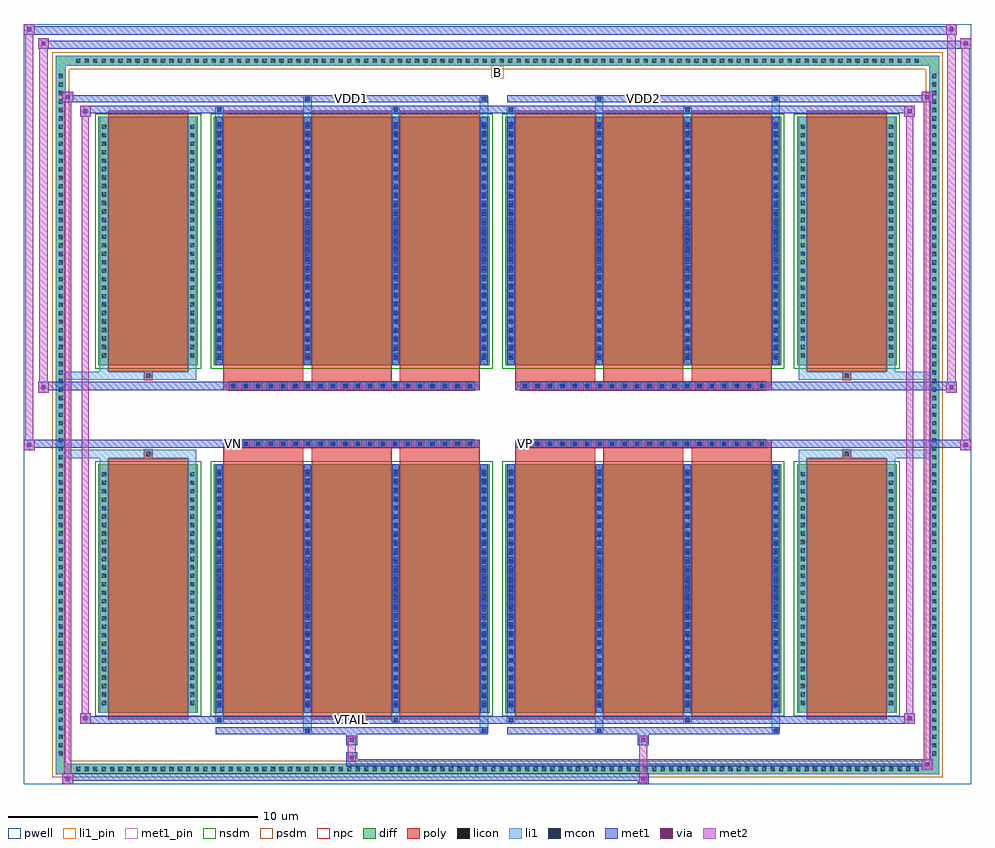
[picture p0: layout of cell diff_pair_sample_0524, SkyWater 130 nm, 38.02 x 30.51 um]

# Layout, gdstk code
import gdstk
lib = gdstk.Library(unit=1e-6, precision=5e-09)
def R(c, l, rs):  # rectangles x0, y0, x1, y1
    for r in rs: c.add(gdstk.rectangle(r[:2], r[2:], *l))
def A(c, l, x, y, w, h, nx, ny, dx, dy):  # array of equal rectangles
    R(c, l, [(x+i*dx, y+j*dy, x+i*dx+w, y+j*dy+h) for i in range(nx) for j in range(ny)])
def P(c, l, *ps):  # polygons
    for p in ps: c.add(gdstk.Polygon(p, *l))
pwell = (64, 44)
diff = (65, 20)
poly = (66, 20)
licon = (66, 44)
li1_pin = (67, 16)
li1 = (67, 20)
mcon = (67, 44)
met1_pin = (68, 16)
met1 = (68, 20)
via = (68, 44)
met2 = (69, 20)
nsdm = (93, 44)
psdm = (94, 20)
npc = (95, 20)

diff_pair_sample_0524 = lib.new_cell('diff_pair_sample_0524')
R(diff_pair_sample_0524, pwell, [(-19.01,-14.82,19.01,15.69), (-16.33,-13.01,-0.01,-0.795), (0.01,-13.01,16.33,-0.795), (-16.33,0.795,-0.01,13.01), (0.01,0.795,16.33,13.01)])
A(diff_pair_sample_0524, diff, -17.035, -14.42, 0.41, 0.41, 100, 2, 0.34, 28.43)
A(diff_pair_sample_0524, diff, -17.74, -13.805, 0.41, 0.41, 1, 81, 0, 0.34)
A(diff_pair_sample_0524, diff, 17.33, -13.805, 0.41, 0.41, 1, 81, 0, 0.34)
R(diff_pair_sample_0524, diff, [(-17.035,-14.42,17.035,-14.01), (-17.74,-13.805,-17.33,13.805), (17.33,-13.805,17.74,13.805), (-16.02,-11.965,-12.03,-1.985), (-11.39,-11.965,-0.32,-1.985), (0.32,-11.965,11.39,-1.985), (12.03,-11.965,16.02,-1.985), (-16.02,1.985,-12.03,11.965), (-11.39,1.985,-0.32,11.965), (0.32,1.985,11.39,11.965), (12.03,1.985,16.02,11.965), (-17.035,14.01,17.035,14.42)])
P(diff_pair_sample_0524, diff, [(17.74,14.42),(-17.74,14.42),(-17.74,-14.01),(-17.33,-14.01),(-17.33,14.01),(17.33,14.01),(17.33,-14.01),(-17.33,-14.01),(-17.74,-14.01),(-17.74,-14.42),(17.74,-14.42)])
A(diff_pair_sample_0524, poly, -11, -12.215, 3.21, 10.48, 3, 2, 3.54, 13.95)
A(diff_pair_sample_0524, poly, 0.71, -12.215, 3.21, 10.48, 3, 2, 3.54, 13.95)
A(diff_pair_sample_0524, poly, -11, -1.735, 3.21, 0.41, 3, 2, 3.54, 3.06)
A(diff_pair_sample_0524, poly, 0.71, -1.735, 3.21, 0.41, 3, 2, 3.54, 3.06)
A(diff_pair_sample_0524, poly, -10.77, -1.325, 0.33, 0.33, 20, 2, 0.5, 2.32)
A(diff_pair_sample_0524, poly, 0.94, -1.325, 0.33, 0.33, 20, 2, 0.5, 2.32)
R(diff_pair_sample_0524, poly, [(-15.63,-12.215,-12.42,-1.735), (12.42,-12.215,15.63,-1.735), (-14.19,-1.735,-13.86,-1.405), (-14.19,-1.735,-13.86,-1.405), (13.86,-1.735,14.19,-1.405), (13.86,-1.735,14.19,-1.405), (-11,-1.325,-0.71,-0.995), (0.71,-1.325,11,-0.995), (-11,0.995,-0.71,1.325), (0.71,0.995,11,1.325), (-14.19,1.405,-13.86,1.735), (-14.19,1.405,-13.86,1.735), (13.86,1.405,14.19,1.735), (13.86,1.405,14.19,1.735), (-15.63,1.735,-12.42,12.215), (12.42,1.735,15.63,12.215)])
A(diff_pair_sample_0524, licon, -16.915, -14.3, 0.17, 0.17, 100, 2, 0.34, 28.43)
A(diff_pair_sample_0524, licon, -17.62, -13.685, 0.17, 0.17, 1, 81, 0, 0.34)
A(diff_pair_sample_0524, licon, 17.45, -13.685, 0.17, 0.17, 1, 81, 0, 0.34)
A(diff_pair_sample_0524, licon, -15.88, -11.65, 0.17, 0.17, 1, 28, 0, 0.34)
A(diff_pair_sample_0524, licon, -12.34, -11.65, 0.17, 0.17, 1, 28, 0, 0.34)
A(diff_pair_sample_0524, licon, -11.25, -11.65, 0.17, 0.17, 4, 28, 3.54, 0.34)
A(diff_pair_sample_0524, licon, 0.46, -11.65, 0.17, 0.17, 4, 28, 3.54, 0.34)
A(diff_pair_sample_0524, licon, 12.17, -11.65, 0.17, 0.17, 1, 28, 0, 0.34)
A(diff_pair_sample_0524, licon, 15.71, -11.65, 0.17, 0.17, 1, 28, 0, 0.34)
A(diff_pair_sample_0524, licon, -10.69, -1.245, 0.17, 0.17, 20, 2, 0.5, 2.32)
A(diff_pair_sample_0524, licon, 1.02, -1.245, 0.17, 0.17, 20, 2, 0.5, 2.32)
A(diff_pair_sample_0524, licon, -15.88, 2.3, 0.17, 0.17, 1, 28, 0, 0.34)
A(diff_pair_sample_0524, licon, -12.34, 2.3, 0.17, 0.17, 1, 28, 0, 0.34)
A(diff_pair_sample_0524, licon, -11.25, 2.3, 0.17, 0.17, 4, 28, 3.54, 0.34)
A(diff_pair_sample_0524, licon, 0.46, 2.3, 0.17, 0.17, 4, 28, 3.54, 0.34)
A(diff_pair_sample_0524, licon, 12.17, 2.3, 0.17, 0.17, 1, 28, 0, 0.34)
A(diff_pair_sample_0524, licon, 15.71, 2.3, 0.17, 0.17, 1, 28, 0, 0.34)
R(diff_pair_sample_0524, licon, [(-14.11,-1.655,-13.94,-1.485), (13.94,-1.655,14.11,-1.485), (-14.11,1.485,-13.94,1.655), (13.94,1.485,14.11,1.655)])
R(diff_pair_sample_0524, li1_pin, [(-0.25,13.51,0.25,14.01)])
A(diff_pair_sample_0524, li1, -16.995, -14.38, 0.33, 0.33, 100, 2, 0.34, 28.43)
A(diff_pair_sample_0524, li1, -17.7, -13.765, 0.33, 0.33, 1, 81, 0, 0.34)
A(diff_pair_sample_0524, li1, 17.37, -13.765, 0.33, 0.33, 1, 81, 0, 0.34)
A(diff_pair_sample_0524, li1, -11.33, -11.965, 0.33, 9.98, 4, 2, 3.54, 13.95)
A(diff_pair_sample_0524, li1, 0.38, -11.965, 0.33, 9.98, 4, 2, 3.54, 13.95)
A(diff_pair_sample_0524, li1, -11.25, -11.74, 0.17, 0.17, 4, 27, 3.54, 0.36)
A(diff_pair_sample_0524, li1, -11.25, -11.74, 0.17, 9.53, 4, 2, 3.54, 13.95)
A(diff_pair_sample_0524, li1, 0.46, -11.74, 0.17, 0.17, 4, 27, 3.54, 0.36)
A(diff_pair_sample_0524, li1, 0.46, -11.74, 0.17, 9.53, 4, 2, 3.54, 13.95)
A(diff_pair_sample_0524, li1, -15.96, -11.73, 0.33, 0.33, 1, 28, 0, 0.34)
A(diff_pair_sample_0524, li1, -12.42, -11.73, 0.33, 0.33, 1, 28, 0, 0.34)
A(diff_pair_sample_0524, li1, -11.33, -11.73, 0.33, 0.33, 4, 28, 3.54, 0.34)
A(diff_pair_sample_0524, li1, 0.38, -11.73, 0.33, 0.33, 4, 28, 3.54, 0.34)
A(diff_pair_sample_0524, li1, 12.09, -11.73, 0.33, 0.33, 1, 28, 0, 0.34)
A(diff_pair_sample_0524, li1, 15.63, -11.73, 0.33, 0.33, 1, 28, 0, 0.34)
A(diff_pair_sample_0524, li1, -10.77, -1.325, 0.33, 0.33, 20, 2, 0.5, 2.32)
A(diff_pair_sample_0524, li1, 0.94, -1.325, 0.33, 0.33, 20, 2, 0.5, 2.32)
A(diff_pair_sample_0524, li1, -11.25, 2.21, 0.17, 0.17, 4, 27, 3.54, 0.36)
A(diff_pair_sample_0524, li1, 0.46, 2.21, 0.17, 0.17, 4, 27, 3.54, 0.36)
A(diff_pair_sample_0524, li1, -15.96, 2.22, 0.33, 0.33, 1, 28, 0, 0.34)
A(diff_pair_sample_0524, li1, -12.42, 2.22, 0.33, 0.33, 1, 28, 0, 0.34)
A(diff_pair_sample_0524, li1, -11.33, 2.22, 0.33, 0.33, 4, 28, 3.54, 0.34)
A(diff_pair_sample_0524, li1, 0.38, 2.22, 0.33, 0.33, 4, 28, 3.54, 0.34)
A(diff_pair_sample_0524, li1, 12.09, 2.22, 0.33, 0.33, 1, 28, 0, 0.34)
A(diff_pair_sample_0524, li1, 15.63, 2.22, 0.33, 0.33, 1, 28, 0, 0.34)
R(diff_pair_sample_0524, li1, [(-17.74,-14.42,-17.33,-14.01), (-17.74,-14.42,-17.33,-14.01), (-17.33,-14.42,17.33,-14.01), (17.33,-14.42,17.74,-14.01), (17.33,-14.42,17.74,-14.01), (-17.74,-14.01,-17.33,14.01), (17.33,-14.01,17.74,14.01), (-7.79,-12.77,-7.46,-11.965), (-7.71,-12.77,-7.54,-12.6), (-0.71,-12.77,-0.38,-11.965), (-0.63,-12.77,-0.46,-12.6), (3.92,-12.77,4.25,-11.965), (4,-12.77,4.17,-12.6), (11,-12.77,11.33,-11.965), (11.08,-12.77,11.25,-12.6), (-11.33,-12.34,-11,-11.965), (-11.25,-12.34,-11.08,-12.17), (-4.25,-12.34,-3.92,-11.965), (-4.17,-12.34,-4,-12.17), (0.38,-12.34,0.71,-11.965), (0.46,-12.34,0.63,-12.17), (7.46,-12.34,7.79,-11.965), (7.54,-12.34,7.71,-12.17), (-15.96,-11.965,-15.63,-1.985), (-12.42,-11.965,-12.09,-1.985), (12.09,-11.965,12.42,-1.985), (15.63,-11.965,15.96,-1.985), (-15.96,-1.985,-15.63,-1.405), (-12.42,-1.985,-12.09,-1.405), (12.09,-1.985,12.42,-1.405), (15.63,-1.985,15.96,-1.405), (-17.74,-1.735,-14.19,-1.405), (-15.96,-1.735,-14.19,-1.405), (-14.19,-1.735,-13.86,-1.405), (-13.86,-1.735,-12.09,-1.405), (12.09,-1.735,13.86,-1.405), (13.86,-1.735,14.19,-1.405), (13.86,-1.735,17.74,-1.405), (14.19,-1.735,15.96,-1.405), (-17.74,1.405,-14.19,1.735), (-15.96,1.405,-14.19,1.735), (-15.96,1.405,-15.63,1.985), (-14.19,1.405,-13.86,1.735), (-13.86,1.405,-12.09,1.735), (-12.42,1.405,-12.09,1.985), (12.09,1.405,13.86,1.735), (12.09,1.405,12.42,1.985), (13.86,1.405,14.19,1.735), (13.86,1.405,17.74,1.735), (14.19,1.405,15.96,1.735), (15.63,1.405,15.96,1.985), (-15.96,1.985,-15.63,11.965), (-12.42,1.985,-12.09,11.965), (12.09,1.985,12.42,11.965), (15.63,1.985,15.96,11.965), (-11.33,11.965,-11,12.34), (-7.79,11.965,-7.46,12.77), (-4.25,11.965,-3.92,12.34), (-0.71,11.965,-0.38,12.77), (0.38,11.965,0.71,12.34), (3.92,11.965,4.25,12.77), (7.46,11.965,7.79,12.34), (11,11.965,11.33,12.77), (-11.25,12.17,-11.08,12.34), (-4.17,12.17,-4,12.34), (0.46,12.17,0.63,12.34), (7.54,12.17,7.71,12.34), (-7.71,12.6,-7.54,12.77), (-0.63,12.6,-0.46,12.77), (4,12.6,4.17,12.77), (11.08,12.6,11.25,12.77), (-17.74,14.01,-17.33,14.42), (-17.74,14.01,-17.33,14.42), (-17.33,14.01,17.33,14.42), (17.33,14.01,17.74,14.42), (17.33,14.01,17.74,14.42)])
A(diff_pair_sample_0524, mcon, -11.25, -11.74, 0.17, 0.17, 4, 27, 3.54, 0.36)
A(diff_pair_sample_0524, mcon, 0.46, -11.74, 0.17, 0.17, 4, 27, 3.54, 0.36)
A(diff_pair_sample_0524, mcon, -10.69, -1.245, 0.17, 0.17, 20, 2, 0.5, 2.32)
A(diff_pair_sample_0524, mcon, 1.02, -1.245, 0.17, 0.17, 20, 2, 0.5, 2.32)
A(diff_pair_sample_0524, mcon, -11.25, 2.21, 0.17, 0.17, 4, 27, 3.54, 0.36)
A(diff_pair_sample_0524, mcon, 0.46, 2.21, 0.17, 0.17, 4, 27, 3.54, 0.36)
R(diff_pair_sample_0524, mcon, [(-7.71,-12.77,-7.54,-12.6), (-0.63,-12.77,-0.46,-12.6), (4,-12.77,4.17,-12.6), (11.08,-12.77,11.25,-12.6), (-11.25,-12.34,-11.08,-12.17), (-4.17,-12.34,-4,-12.17), (0.46,-12.34,0.63,-12.17), (7.54,-12.34,7.71,-12.17), (-11.25,12.17,-11.08,12.34), (-4.17,12.17,-4,12.34), (0.46,12.17,0.63,12.34), (7.54,12.17,7.71,12.34), (-7.71,12.6,-7.54,12.77), (-0.63,12.6,-0.46,12.77), (4,12.6,4.17,12.77), (11.08,12.6,11.25,12.77)])
R(diff_pair_sample_0524, met1_pin, [(-5.99,-12.38,-5.72,-12.11), (-10.74,-1.285,-10.47,-1.015), (0.97,-1.285,1.24,-1.015), (-5.99,12.56,-5.72,12.83), (5.72,12.56,5.99,12.83)])
A(diff_pair_sample_0524, met1, -11.31, -11.965, 0.29, 9.98, 4, 2, 3.54, 13.95)
A(diff_pair_sample_0524, met1, 0.4, -11.965, 0.29, 9.98, 4, 2, 3.54, 13.95)
A(diff_pair_sample_0524, met1, -11.31, -11.8, 0.29, 0.29, 4, 27, 3.54, 0.36)
A(diff_pair_sample_0524, met1, 0.4, -11.8, 0.29, 0.29, 4, 27, 3.54, 0.36)
A(diff_pair_sample_0524, met1, -10.75, -1.305, 0.29, 0.29, 20, 2, 0.5, 2.32)
A(diff_pair_sample_0524, met1, 0.96, -1.305, 0.29, 0.29, 20, 2, 0.5, 2.32)
A(diff_pair_sample_0524, met1, -11.31, 2.15, 0.29, 0.29, 4, 27, 3.54, 0.36)
A(diff_pair_sample_0524, met1, 0.4, 2.15, 0.29, 0.29, 4, 27, 3.54, 0.36)
R(diff_pair_sample_0524, met1, [(-17.47,-14.82,-17.04,-14.39), (5.64,-14.82,6.07,-14.39), (-17.47,-14.68,6.07,-14.39), (17.04,-14.25,17.47,-13.82), (-6.07,-14.11,17.47,-13.82), (-6.07,-13.97,-5.64,-13.54), (-6.07,-13.26,-5.64,-12.83), (5.64,-13.26,6.07,-12.83), (-11.31,-12.83,-0.4,-12.54), (-7.77,-12.83,-7.48,-12.54), (-0.69,-12.83,-0.4,-12.54), (0.4,-12.83,11.31,-12.54), (3.94,-12.83,4.23,-12.54), (11.02,-12.83,11.31,-12.54), (-16.76,-12.4,-16.33,-11.97), (-16.76,-12.4,-11.31,-12.11), (-11.31,-12.4,-11.02,-12.11), (-11.31,-12.4,-0.4,-12.11), (-4.23,-12.4,-3.94,-12.11), (-0.4,-12.4,0.4,-12.11), (0.4,-12.4,0.69,-12.11), (0.4,-12.4,11.31,-12.11), (7.48,-12.4,7.77,-12.11), (11.31,-12.4,16.76,-12.11), (16.33,-12.4,16.76,-11.97), (-19.01,-1.425,-18.58,-0.995), (18.58,-1.425,19.01,-0.995), (-19.01,-1.325,-0.71,-0.995), (-11,-1.325,-0.71,-0.995), (0.71,-1.325,11,-0.995), (0.71,-1.325,19.01,-0.995), (-18.44,0.895,-18.01,1.325), (18.01,0.895,18.44,1.325), (-18.44,0.995,-11,1.325), (-11,0.995,-0.71,1.325), (0.71,0.995,11,1.325), (11,0.995,18.44,1.325), (-16.76,11.97,-16.33,12.4), (16.33,11.97,16.76,12.4), (-16.76,12.11,-11.31,12.4), (-11.31,12.11,-11.02,12.4), (-11.31,12.11,-0.4,12.4), (-4.23,12.11,-3.94,12.4), (-0.4,12.11,0.4,12.4), (0.4,12.11,0.69,12.4), (0.4,12.11,11.31,12.4), (7.48,12.11,7.77,12.4), (11.31,12.11,16.76,12.4), (-17.47,12.54,-17.04,12.97), (-17.47,12.54,-11.31,12.83), (-11.31,12.54,-0.4,12.83), (-7.77,12.54,-7.48,12.83), (-0.69,12.54,-0.4,12.83), (0.4,12.54,11.31,12.83), (3.94,12.54,4.23,12.83), (11.02,12.54,11.31,12.83), (11.31,12.54,17.47,12.83), (17.04,12.54,17.47,12.97), (-18.44,14.69,-18.01,15.12), (-18.44,14.69,-16.33,15.02), (-16.33,14.69,16.33,15.02), (16.33,14.69,19.01,15.02), (18.58,14.69,19.01,15.12), (-19.01,15.26,-18.58,15.69), (-19.01,15.26,-16.33,15.59), (-16.33,15.26,16.33,15.59), (16.33,15.26,18.44,15.59), (18.01,15.26,18.44,15.69)])
R(diff_pair_sample_0524, via, [(-17.33,-14.68,-17.18,-14.53), (5.78,-14.68,5.93,-14.53), (17.18,-14.11,17.33,-13.96), (-5.93,-13.83,-5.78,-13.68), (-5.93,-13.12,-5.78,-12.97), (5.78,-13.12,5.93,-12.97), (-16.62,-12.26,-16.47,-12.11), (16.47,-12.26,16.62,-12.11), (-18.87,-1.285,-18.72,-1.135), (18.72,-1.285,18.87,-1.135), (-18.3,1.035,-18.15,1.185), (18.15,1.035,18.3,1.185), (-16.62,12.11,-16.47,12.26), (16.47,12.11,16.62,12.26), (-17.33,12.68,-17.18,12.83), (17.18,12.68,17.33,12.83), (-18.3,14.83,-18.15,14.98), (18.72,14.83,18.87,14.98), (-18.87,15.4,-18.72,15.55), (18.15,15.4,18.3,15.55)])
R(diff_pair_sample_0524, met2, [(-17.47,-14.82,-17.04,-14.39), (-17.4,-14.82,-17.11,12.97), (-17.11,-14.82,-17.04,-14.39), (-17.42,-14.77,-17.09,-14.44), (5.69,-14.77,6.02,-14.44), (5.69,-14.44,6.02,-13.21), (17.04,-14.25,17.47,-13.82), (17.11,-14.25,17.4,12.97), (17.4,-14.25,17.47,-13.82), (17.09,-14.2,17.42,-13.87), (-6.02,-13.92,-5.69,-13.59), (-6.02,-13.59,-5.69,-13.21), (-6.02,-13.21,-5.69,-12.88), (5.69,-13.21,6.02,-12.88), (-16.76,-12.4,-16.33,-11.97), (-16.69,-12.4,-16.4,12.4), (-16.4,-12.4,-16.33,-11.97), (16.33,-12.4,16.76,-11.97), (16.4,-12.4,16.69,12.4), (16.69,-12.4,16.76,-11.97), (-16.71,-12.35,-16.38,-12.02), (16.38,-12.35,16.71,-12.02), (-19.01,-1.425,-18.58,-0.995), (-18.96,-1.425,-18.63,15.69), (-18.63,-1.425,-18.58,-0.995), (18.58,-1.425,19.01,-0.995), (18.63,-1.425,18.96,15.12), (18.96,-1.425,19.01,-0.995), (-18.96,-1.375,-18.63,-1.045), (18.63,-1.375,18.96,-1.045), (-18.44,0.895,-18.01,1.325), (-18.39,0.895,-18.06,15.12), (-18.06,0.895,-18.01,1.325), (18.01,0.895,18.44,1.325), (18.06,0.895,18.39,15.69), (18.39,0.895,18.44,1.325), (-18.39,0.945,-18.06,1.275), (18.06,0.945,18.39,1.275), (-16.76,11.97,-16.33,12.4), (-16.4,11.97,-16.33,12.4), (16.33,11.97,16.76,12.4), (16.69,11.97,16.76,12.4), (-16.71,12.02,-16.38,12.35), (16.38,12.02,16.71,12.35), (-17.47,12.54,-17.04,12.97), (-17.11,12.54,-17.04,12.97), (17.04,12.54,17.47,12.97), (17.4,12.54,17.47,12.97), (-17.42,12.59,-17.09,12.92), (17.09,12.59,17.42,12.92), (-18.44,14.69,-18.01,15.12), (-18.06,14.69,-18.01,15.12), (18.58,14.69,19.01,15.12), (18.96,14.69,19.01,15.12), (-18.39,14.74,-18.06,15.07), (18.63,14.74,18.96,15.07), (-19.01,15.26,-18.58,15.69), (-18.63,15.26,-18.58,15.69), (18.01,15.26,18.44,15.69), (18.39,15.26,18.44,15.69), (-18.96,15.31,-18.63,15.64), (18.06,15.31,18.39,15.64)])
R(diff_pair_sample_0524, nsdm, [(-16.15,-12.095,-11.9,-1.855), (-11.52,-12.095,-0.19,-1.855), (0.19,-12.095,11.52,-1.855), (11.9,-12.095,16.15,-1.855), (-16.15,1.855,-11.9,12.095), (-11.52,1.855,-0.19,12.095), (0.19,1.855,11.52,12.095), (11.9,1.855,16.15,12.095)])
P(diff_pair_sample_0524, psdm, [(17.87,14.55),(-17.87,14.55),(-17.87,-13.88),(-17.2,-13.88),(-17.2,13.88),(17.2,13.88),(17.2,-13.88),(-17.2,-13.88),(-17.87,-13.88),(-17.87,-14.55),(17.87,-14.55)])
A(diff_pair_sample_0524, npc, -10.79, -1.345, 0.37, 0.37, 20, 2, 0.5, 2.32)
A(diff_pair_sample_0524, npc, 0.92, -1.345, 0.37, 0.37, 20, 2, 0.5, 2.32)
R(diff_pair_sample_0524, npc, [(-14.21,-1.755,-13.84,-1.385), (13.84,-1.755,14.21,-1.385), (-10.79,-1.345,-9.92,-0.975), (-10.79,-1.345,-9.92,-0.975), (-10.29,-1.345,-9.42,-0.975), (-10.29,-1.345,-9.42,-0.975), (-9.79,-1.345,-8.92,-0.975), (-9.79,-1.345,-8.92,-0.975), (-9.29,-1.345,-8.42,-0.975), (-9.29,-1.345,-8.42,-0.975), (-8.79,-1.345,-7.92,-0.975), (-8.79,-1.345,-7.92,-0.975), (-8.29,-1.345,-7.42,-0.975), (-8.29,-1.345,-7.42,-0.975), (-7.79,-1.345,-6.92,-0.975), (-7.79,-1.345,-6.92,-0.975), (-7.29,-1.345,-6.42,-0.975), (-7.29,-1.345,-6.42,-0.975), (-6.79,-1.345,-5.92,-0.975), (-6.79,-1.345,-5.92,-0.975), (-6.29,-1.345,-5.42,-0.975), (-6.29,-1.345,-5.42,-0.975), (-5.79,-1.345,-4.92,-0.975), (-5.79,-1.345,-4.92,-0.975), (-5.29,-1.345,-4.42,-0.975), (-5.29,-1.345,-4.42,-0.975), (-4.79,-1.345,-3.92,-0.975), (-4.79,-1.345,-3.92,-0.975), (-4.29,-1.345,-3.42,-0.975), (-4.29,-1.345,-3.42,-0.975), (-3.79,-1.345,-2.92,-0.975), (-3.79,-1.345,-2.92,-0.975), (-3.29,-1.345,-2.42,-0.975), (-3.29,-1.345,-2.42,-0.975), (-2.79,-1.345,-1.92,-0.975), (-2.79,-1.345,-1.92,-0.975), (-2.29,-1.345,-1.42,-0.975), (-2.29,-1.345,-1.42,-0.975), (-1.79,-1.345,-0.92,-0.975), (-1.79,-1.345,-0.92,-0.975), (0.92,-1.345,1.79,-0.975), (0.92,-1.345,1.79,-0.975), (1.42,-1.345,2.29,-0.975), (1.42,-1.345,2.29,-0.975), (1.92,-1.345,2.79,-0.975), (1.92,-1.345,2.79,-0.975), (2.42,-1.345,3.29,-0.975), (2.42,-1.345,3.29,-0.975), (2.92,-1.345,3.79,-0.975), (2.92,-1.345,3.79,-0.975), (3.42,-1.345,4.29,-0.975), (3.42,-1.345,4.29,-0.975), (3.92,-1.345,4.79,-0.975), (3.92,-1.345,4.79,-0.975), (4.42,-1.345,5.29,-0.975), (4.42,-1.345,5.29,-0.975), (4.92,-1.345,5.79,-0.975), (4.92,-1.345,5.79,-0.975), (5.42,-1.345,6.29,-0.975), (5.42,-1.345,6.29,-0.975), (5.92,-1.345,6.79,-0.975), (5.92,-1.345,6.79,-0.975), (6.42,-1.345,7.29,-0.975), (6.42,-1.345,7.29,-0.975), (6.92,-1.345,7.79,-0.975), (6.92,-1.345,7.79,-0.975), (7.42,-1.345,8.29,-0.975), (7.42,-1.345,8.29,-0.975), (7.92,-1.345,8.79,-0.975), (7.92,-1.345,8.79,-0.975), (8.42,-1.345,9.29,-0.975), (8.42,-1.345,9.29,-0.975), (8.92,-1.345,9.79,-0.975), (8.92,-1.345,9.79,-0.975), (9.42,-1.345,10.29,-0.975), (9.42,-1.345,10.29,-0.975), (9.92,-1.345,10.79,-0.975), (9.92,-1.345,10.79,-0.975), (-10.79,0.975,-9.92,1.345), (-10.79,0.975,-9.92,1.345), (-10.29,0.975,-9.42,1.345), (-10.29,0.975,-9.42,1.345), (-9.79,0.975,-8.92,1.345), (-9.79,0.975,-8.92,1.345), (-9.29,0.975,-8.42,1.345), (-9.29,0.975,-8.42,1.345), (-8.79,0.975,-7.92,1.345), (-8.79,0.975,-7.92,1.345), (-8.29,0.975,-7.42,1.345), (-8.29,0.975,-7.42,1.345), (-7.79,0.975,-6.92,1.345), (-7.79,0.975,-6.92,1.345), (-7.29,0.975,-6.42,1.345), (-7.29,0.975,-6.42,1.345), (-6.79,0.975,-5.92,1.345), (-6.79,0.975,-5.92,1.345), (-6.29,0.975,-5.42,1.345), (-6.29,0.975,-5.42,1.345), (-5.79,0.975,-4.92,1.345), (-5.79,0.975,-4.92,1.345), (-5.29,0.975,-4.42,1.345), (-5.29,0.975,-4.42,1.345), (-4.79,0.975,-3.92,1.345), (-4.79,0.975,-3.92,1.345), (-4.29,0.975,-3.42,1.345), (-4.29,0.975,-3.42,1.345), (-3.79,0.975,-2.92,1.345), (-3.79,0.975,-2.92,1.345), (-3.29,0.975,-2.42,1.345), (-3.29,0.975,-2.42,1.345), (-2.79,0.975,-1.92,1.345), (-2.79,0.975,-1.92,1.345), (-2.29,0.975,-1.42,1.345), (-2.29,0.975,-1.42,1.345), (-1.79,0.975,-0.92,1.345), (-1.79,0.975,-0.92,1.345), (0.92,0.975,1.79,1.345), (0.92,0.975,1.79,1.345), (1.42,0.975,2.29,1.345), (1.42,0.975,2.29,1.345), (1.92,0.975,2.79,1.345), (1.92,0.975,2.79,1.345), (2.42,0.975,3.29,1.345), (2.42,0.975,3.29,1.345), (2.92,0.975,3.79,1.345), (2.92,0.975,3.79,1.345), (3.42,0.975,4.29,1.345), (3.42,0.975,4.29,1.345), (3.92,0.975,4.79,1.345), (3.92,0.975,4.79,1.345), (4.42,0.975,5.29,1.345), (4.42,0.975,5.29,1.345), (4.92,0.975,5.79,1.345), (4.92,0.975,5.79,1.345), (5.42,0.975,6.29,1.345), (5.42,0.975,6.29,1.345), (5.92,0.975,6.79,1.345), (5.92,0.975,6.79,1.345), (6.42,0.975,7.29,1.345), (6.42,0.975,7.29,1.345), (6.92,0.975,7.79,1.345), (6.92,0.975,7.79,1.345), (7.42,0.975,8.29,1.345), (7.42,0.975,8.29,1.345), (7.92,0.975,8.79,1.345), (7.92,0.975,8.79,1.345), (8.42,0.975,9.29,1.345), (8.42,0.975,9.29,1.345), (8.92,0.975,9.79,1.345), (8.92,0.975,9.79,1.345), (9.42,0.975,10.29,1.345), (9.42,0.975,10.29,1.345), (9.92,0.975,10.79,1.345), (9.92,0.975,10.79,1.345), (-14.21,1.385,-13.84,1.755), (13.84,1.385,14.21,1.755)])
diff_pair_sample_0524.add(gdstk.Label('VTAIL', (-5.855,-12.245), layer=68, texttype=5))
diff_pair_sample_0524.add(gdstk.Label('VN', (-10.605,-1.15), layer=68, texttype=5))
diff_pair_sample_0524.add(gdstk.Label('VP', (1.105,-1.15), layer=68, texttype=5))
diff_pair_sample_0524.add(gdstk.Label('B', (0,13.76), layer=67, texttype=5))
diff_pair_sample_0524.add(gdstk.Label('VDD2', (5.855,12.695), layer=68, texttype=5))
diff_pair_sample_0524.add(gdstk.Label('VDD1', (-5.855,12.695), layer=68, texttype=5))

lib.write_gds('diff_pair_sample_0524.gds')
